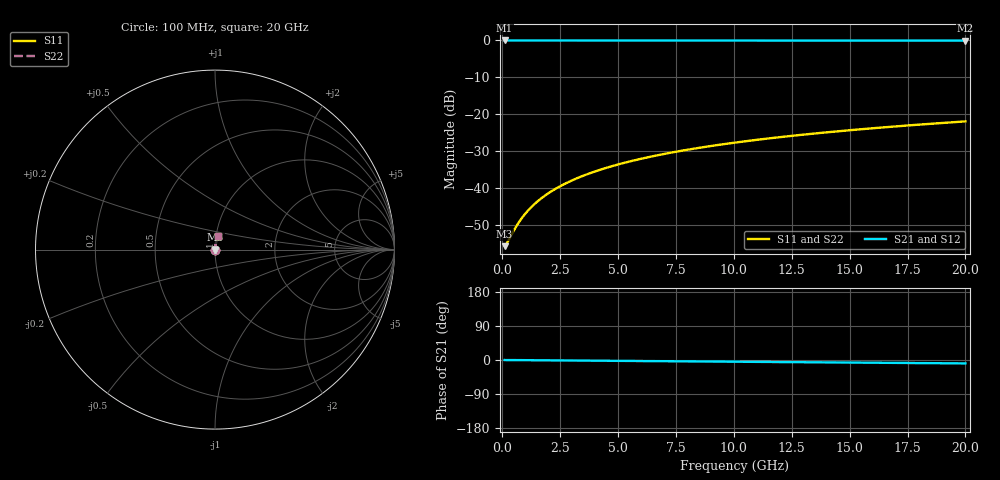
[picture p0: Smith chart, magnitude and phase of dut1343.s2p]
! Touchstone file exported from HFSS 2026.1.0
!  File:  C:/ffzhzh/LocalFiles/Ansys_Project_Files/temp_train_TSV_1343_1783195658_22436.aedt
!  Generated:  04:09:47 AM Jul  5, 2026
!  Design:  TSV
!  Project:  temp_train_TSV_1343_1783195658_22436
! Variables:
!  h_bsmrdl = 2um
!  h_ox = 20um
!  h_rdl = 5um
!  h_sub = 80.67um
!  h_tmrdl = 5um
!  h_tsv = 80.67um
!  h_via = 3um
!  l_bsmrdl = 300um
!  l_sub = 404.88um
!  l_tmrdl = 200um
!  m_sub = 200um
!  pitch = 24.95um
!  r_tsv = 2.44um
!  s_tmrdl = 10um
!  w_bsmrdl = 18um
!  w_sub = 500um
!  w_tmrdl = 12um
!  x_tsv_center1 = 206um
!  x_tsv_center2 = 524um
!  x_tsv_center3 = 736um
!  x_tsv_center4 = 1054um
!  x_tsv_center5 = 1266um
!  x_tsv_center6 = 1584um
# GHz S MA R 50.000000
! Terminal data exported
! Port[1] = TSV1_1_T1
! Port[2] = TSV1_1_T2
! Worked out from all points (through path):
!   200 points, 100 MHz to 20 GHz, reference 50 ohm
!   highest |S21| = -0.01 dB at 100 MHz (marker M1); lowest = -0.1 dB at 20 GHz (marker M2)
!   group delay of S21, straight-line fit = 1.25 ps
!   lowest |S11| = -55.8 dB at 100 MHz (marker M3), VSWR 1.00, Z = 50.2 + j0.0427 ohm
!   |S11| at or under -10 dB: start of sweep to end of sweep
!   |S22| runs from -55.8 to -22.0 dB; largest |S21 - S12| = 1.4e-15
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0.1  0.001622 15.2  0.9984 -0.0  0.9984 -0.0  0.001622 15.2
! Gamma 0 0 0 0
! Port Impedance 50 0 50 0
0.2  0.001786 28.4  0.9984 -0.1  0.9984 -0.1  0.001786 28.4
0.6  0.002997 57.4  0.9984 -0.3  0.9984 -0.3  0.002997 57.4
0.8  0.003733 64.0  0.9984 -0.4  0.9984 -0.4  0.003733 64.0
0.9  0.004113 66.3  0.9984 -0.4  0.9984 -0.4  0.004113 66.3
1.1  0.00489 70.0  0.9984 -0.5  0.9984 -0.5  0.00489 70.0
1.4  0.00608 73.6  0.9983 -0.6  0.9983 -0.6  0.00608 73.6
1.6  0.006883 75.3  0.9983 -0.7  0.9983 -0.7  0.006883 75.3
1.8  0.007692 76.6  0.9983 -0.8  0.9983 -0.8  0.007692 76.6
2.3  0.009728 78.8  0.9982 -1.1  0.9982 -1.1  0.009728 78.8
2.9  0.01218 80.4  0.9982 -1.3  0.9982 -1.3  0.01218 80.4
3.5  0.01465 81.3  0.9981 -1.6  0.9981 -1.6  0.01465 81.3
4.2  0.01752 81.9  0.998 -1.9  0.998 -1.9  0.01752 81.9
5  0.02079 82.3  0.9978 -2.3  0.9978 -2.3  0.02079 82.3
5.9  0.02446 82.4  0.9976 -2.7  0.9976 -2.7  0.02446 82.4
6.8  0.02811 82.4  0.9974 -3.1  0.9974 -3.1  0.02811 82.4
8.3  0.03415 82.1  0.997 -3.8  0.997 -3.8  0.03415 82.1
10.1  0.04133 81.6  0.9964 -4.6  0.9964 -4.6  0.04133 81.6
11.7  0.04766 81.1  0.9959 -5.3  0.9959 -5.3  0.04766 81.1
13.4  0.05432 80.5  0.9953 -6.1  0.9953 -6.1  0.05432 80.5
16.7  0.06712 79.3  0.994 -7.5  0.994 -7.5  0.06712 79.3
20  0.07976 78.1  0.9927 -9.0  0.9927 -9.0  0.07976 78.1
